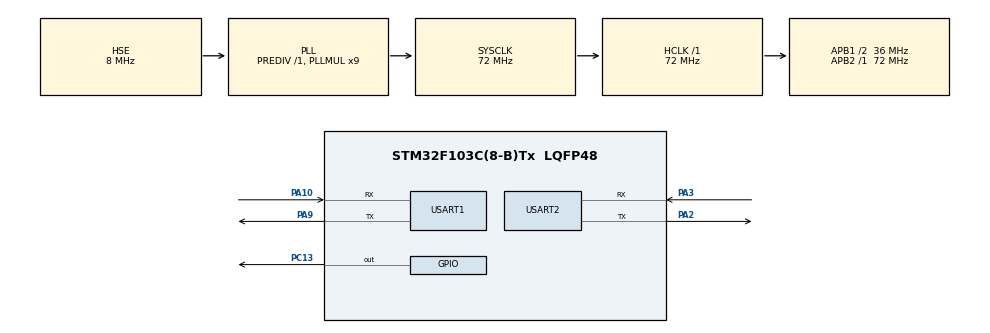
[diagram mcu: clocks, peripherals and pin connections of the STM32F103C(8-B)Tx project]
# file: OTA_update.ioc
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Mcu.Family=STM32F1
Mcu.Name=STM32F103C(8-B)Tx
Mcu.Package=LQFP48
NVIC.PriorityGroup=NVIC_PRIORITYGROUP_4
PA10.Mode=Asynchronous
PA10.Signal=USART1_RX
PA13.Mode=Serial_Wire
PA13.Signal=SYS_JTMS-SWDIO
PA14.Mode=Serial_Wire
PA14.Signal=SYS_JTCK-SWCLK
PA2.Mode=Asynchronous
PA2.Signal=USART2_TX
PA3.Mode=Asynchronous
PA3.Signal=USART2_RX
PA9.Mode=Asynchronous
PA9.Signal=USART1_TX
PC13-TAMPER-RTC.GPIO_ModeDefaultOutputPP=GPIO_MODE_OUTPUT_OD
PC13-TAMPER-RTC.GPIO_PuPd=GPIO_NOPULL
PC13-TAMPER-RTC.PinState=GPIO_PIN_SET
PC13-TAMPER-RTC.Signal=GPIO_Output
PD0-OSC_IN.Mode=HSE-External-Oscillator
PD0-OSC_IN.Signal=RCC_OSC_IN
PD1-OSC_OUT.Mode=HSE-External-Oscillator
PD1-OSC_OUT.Signal=RCC_OSC_OUT
ProjectManager.HeapSize=0x200
ProjectManager.StackSize=0x400
ProjectManager.TargetToolchain=STM32CubeIDE
RCC.AHBFreq_Value=72000000
RCC.APB1CLKDivider=RCC_HCLK_DIV2
RCC.APB1Freq_Value=36000000
RCC.APB1TimFreq_Value=72000000
RCC.APB2Freq_Value=72000000
RCC.APB2TimFreq_Value=72000000
RCC.HCLKFreq_Value=72000000
RCC.PLLMUL=RCC_PLL_MUL9
RCC.PLLSourceVirtual=RCC_PLLSOURCE_HSE
RCC.SYSCLKFreq_VALUE=72000000
RCC.SYSCLKSource=RCC_SYSCLKSOURCE_PLLCLK
RCC.USBFreq_Value=72000000
USART1.VirtualMode=VM_ASYNC
USART2.VirtualMode=VM_ASYNC
board=custom

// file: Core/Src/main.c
/* USER CODE BEGIN Header */
/**
  ******************************************************************************
  * @file           : main.c
  * @brief          : Main program body
  ******************************************************************************
  * @attention
  *
  * Copyright (c) 2026 STMicroelectronics.
  * All rights reserved.
  *
  * This software is licensed under terms that can be found in the LICENSE file
  * in the root directory of this software component.
  * If no LICENSE file comes with this software, it is provided AS-IS.
  *
  ******************************************************************************
  */
/* USER CODE END Header */
#include "main.h"

/* USER CODE BEGIN Includes */
#include <stdio.h>
#include <flash_operations.h>
/* USER CODE END Includes */

/* USER CODE BEGIN PD */
#define SOF 0xA5
#define ACK 0x79
#define NACK 0x1F

#define NEW_FIRMWARE_ADDR  0x0800A000U

/* USER CODE END PD */

UART_HandleTypeDef huart1;
UART_HandleTypeDef huart2;

/* USER CODE BEGIN PV */
uint32_t totalSize=0;
uint8_t receivedChunk[128];
uint32_t receivedSize=0;
uint8_t startOfFrame;
uint8_t chunkLen;
uint16_t crc;
uint32_t currentAddress=NEW_FIRMWARE_ADDR;

/* USER CODE END PV */

void SystemClock_Config(void);
static void MX_GPIO_Init(void);
static void MX_USART1_UART_Init(void);
static void MX_USART2_UART_Init(void);

/* USER CODE BEGIN 0 */

int _write(int fd, char *ptr, int len) {
    HAL_StatusTypeDef hstatus;

    if (fd == 1 || fd == 2) {
        hstatus = HAL_UART_Transmit(&huart1, (uint8_t*) ptr, len, HAL_MAX_DELAY);
        if (hstatus == HAL_OK)
            return len;
        else
            return -1;
    }
    return -1;
}

uint16_t crc16(uint8_t* a, uint8_t len){
  uint16_t crcVal=0;

  for(uint8_t i=0;i<len;i++){
    crcVal^=a[i];
    for(uint8_t j=0;j<8;j++){
      if(crcVal & 0x0001)
        crcVal=(crcVal>>1)^0xA001;
      else
        crcVal=(crcVal>>1);
    }
  }

  return crcVal;
}

void receiveChunk(){
	HAL_UART_Receive(&huart2, &startOfFrame, 1, HAL_MAX_DELAY);

	if(startOfFrame!=SOF){
		printf("No SOF message from ESP\r\n");
		return;
	}

	HAL_UART_Receive(&huart2, &chunkLen, 1, HAL_MAX_DELAY);
	HAL_UART_Receive(&huart2, receivedChunk, chunkLen, HAL_MAX_DELAY);
	HAL_UART_Receive(&huart2, (uint8_t*)&crc, 2, HAL_MAX_DELAY);

	uint16_t calculatedCRC=crc16(receivedChunk, chunkLen);

	if(calculatedCRC==crc){
		HAL_StatusTypeDef status=flashWrite(currentAddress, receivedChunk, chunkLen);

		if(status==HAL_OK){
			currentAddress+=chunkLen;
			receivedSize+=chunkLen;
		}

		printf("Chunk Written\r\n\n");

		uint8_t ackMessage=ACK;
		HAL_UART_Transmit(&huart2, &ackMessage, 1, HAL_MAX_DELAY);
	}else{
		uint8_t nackMessage=NACK;
		HAL_UART_Transmit(&huart2, &nackMessage, 1, HAL_MAX_DELAY);

		printf("NACK sent for some chunk number xxx\r\n");
		return;
	}

	return;

}

/* USER CODE END 0 */

int main(void)
{

  /* MCU Configuration--------------------------------------------------------*/

  /* Reset of all peripherals, Initializes the Flash interface and the Systick. */
  HAL_Init();

  /* Configure the system clock */
  SystemClock_Config();

  /* Initialize all configured peripherals */
  MX_GPIO_Init();
  MX_USART1_UART_Init();
  MX_USART2_UART_Init();
  /* USER CODE BEGIN 2 */
  printf("Starting\r\n");

  uint32_t resetReason=RCC->CSR;
  if(resetReason &  (1<<31)) printf("Low power reset\r\n");
  if(resetReason & (1<<30)) printf("Window watchdog reset\r\n");
  if(resetReason & (1<<29)) printf("Independent watchdog reset\r\n");
  if(resetReason & (1<<28)) printf("Software reset\r\n");
  if(resetReason & (1<<27)) printf("POR/PDR reset\r\n");
  if(resetReason & (1<<26)) printf("Hardware reset\r\n");

  RCC->CSR |= (1<<24);

  HAL_FLASH_Unlock();

  while(totalSize==0){
	  printf("Waiting for total size message from ESP\r\n\n");
	  HAL_UART_Receive(&huart2, (uint8_t *)&totalSize, 4, HAL_MAX_DELAY);

	  flashErase(NEW_FIRMWARE_ADDR, totalSize);

	  uint8_t ackMessage=ACK;
	  HAL_UART_Transmit(&huart2, &ackMessage, 1, HAL_MAX_DELAY);
  }

  printf("Flash erased and ACK sent to ESP\r\n");

  while(receivedSize<totalSize){
	  receiveChunk();
  }

  HAL_FLASH_Lock();

  printf("Firmware Successfully received\r\n");

  /* USER CODE END 2 */

  /* Infinite loop */
  /* USER CODE BEGIN WHILE */
  while (1)
  {
	  //Once firmware successfully installed, LED blinks

	  HAL_GPIO_TogglePin(GPIOC, GPIO_PIN_13);
	  HAL_Delay(500);
    /* USER CODE END WHILE */

  }
}

void SystemClock_Config(void)
{
  RCC_OscInitTypeDef RCC_OscInitStruct = {0};
  RCC_ClkInitTypeDef RCC_ClkInitStruct = {0};

  /** Initializes the RCC Oscillators according to the specified parameters
  * in the RCC_OscInitTypeDef structure.
  */
  RCC_OscInitStruct.OscillatorType = RCC_OSCILLATORTYPE_HSE;
  RCC_OscInitStruct.HSEState = RCC_HSE_ON;
  RCC_OscInitStruct.HSEPredivValue = RCC_HSE_PREDIV_DIV1;
  RCC_OscInitStruct.HSIState = RCC_HSI_ON;
  RCC_OscInitStruct.PLL.PLLState = RCC_PLL_ON;
  RCC_OscInitStruct.PLL.PLLSource = RCC_PLLSOURCE_HSE;
  RCC_OscInitStruct.PLL.PLLMUL = RCC_PLL_MUL9;
  if (HAL_RCC_OscConfig(&RCC_OscInitStruct) != HAL_OK)
  {
    Error_Handler();
  }

  /** Initializes the CPU, AHB and APB buses clocks
  */
  RCC_ClkInitStruct.ClockType = RCC_CLOCKTYPE_HCLK|RCC_CLOCKTYPE_SYSCLK
                              |RCC_CLOCKTYPE_PCLK1|RCC_CLOCKTYPE_PCLK2;
  RCC_ClkInitStruct.SYSCLKSource = RCC_SYSCLKSOURCE_PLLCLK;
  RCC_ClkInitStruct.AHBCLKDivider = RCC_SYSCLK_DIV1;
  RCC_ClkInitStruct.APB1CLKDivider = RCC_HCLK_DIV2;
  RCC_ClkInitStruct.APB2CLKDivider = RCC_HCLK_DIV1;

  if (HAL_RCC_ClockConfig(&RCC_ClkInitStruct, FLASH_LATENCY_2) != HAL_OK)
  {
    Error_Handler();
  }
}

static void MX_USART1_UART_Init(void)
{

  huart1.Instance = USART1;
  huart1.Init.BaudRate = 115200;
  huart1.Init.WordLength = UART_WORDLENGTH_8B;
  huart1.Init.StopBits = UART_STOPBITS_1;
  huart1.Init.Parity = UART_PARITY_NONE;
  huart1.Init.Mode = UART_MODE_TX_RX;
  huart1.Init.HwFlowCtl = UART_HWCONTROL_NONE;
  huart1.Init.OverSampling = UART_OVERSAMPLING_16;
  if (HAL_UART_Init(&huart1) != HAL_OK)
  {
    Error_Handler();
  }

}

static void MX_USART2_UART_Init(void)
{

  huart2.Instance = USART2;
  huart2.Init.BaudRate = 115200;
  huart2.Init.WordLength = UART_WORDLENGTH_8B;
  huart2.Init.StopBits = UART_STOPBITS_1;
  huart2.Init.Parity = UART_PARITY_NONE;
  huart2.Init.Mode = UART_MODE_TX_RX;
  huart2.Init.HwFlowCtl = UART_HWCONTROL_NONE;
  huart2.Init.OverSampling = UART_OVERSAMPLING_16;
  if (HAL_UART_Init(&huart2) != HAL_OK)
  {
    Error_Handler();
  }

}

static void MX_GPIO_Init(void)
{
  GPIO_InitTypeDef GPIO_InitStruct = {0};

  /* GPIO Ports Clock Enable */
  __HAL_RCC_GPIOC_CLK_ENABLE();
  __HAL_RCC_GPIOD_CLK_ENABLE();
  __HAL_RCC_GPIOA_CLK_ENABLE();

  /*Configure GPIO pin Output Level */
  HAL_GPIO_WritePin(GPIOC, GPIO_PIN_13, GPIO_PIN_SET);

  /*Configure GPIO pin : PC13 */
  GPIO_InitStruct.Pin = GPIO_PIN_13;
  GPIO_InitStruct.Mode = GPIO_MODE_OUTPUT_OD;
  GPIO_InitStruct.Pull = GPIO_NOPULL;
  GPIO_InitStruct.Speed = GPIO_SPEED_FREQ_LOW;
  HAL_GPIO_Init(GPIOC, &GPIO_InitStruct);

}

void Error_Handler(void)
{
  __disable_irq();
  while (1)
  {
  }
}
